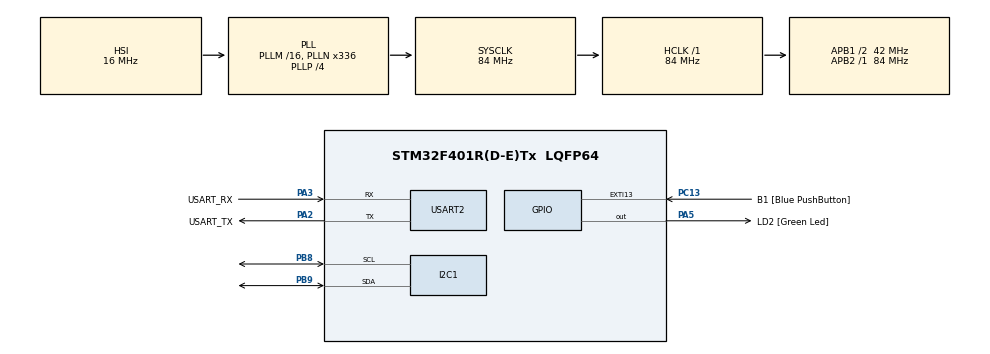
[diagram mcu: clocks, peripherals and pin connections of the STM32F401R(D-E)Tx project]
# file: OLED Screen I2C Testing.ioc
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Mcu.Family=STM32F4
Mcu.Name=STM32F401R(D-E)Tx
Mcu.Package=LQFP64
NVIC.EXTI15_10_IRQn=true\:0\:0\:false\:false\:true\:true\:true\:true
NVIC.PriorityGroup=NVIC_PRIORITYGROUP_4
PA13.GPIO_Label=TMS
PA13.Mode=Trace_Asynchronous_SW
PA13.Signal=SYS_JTMS-SWDIO
PA14.GPIO_Label=TCK
PA14.Mode=Trace_Asynchronous_SW
PA14.Signal=SYS_JTCK-SWCLK
PA2.GPIO_Label=USART_TX
PA2.GPIO_Mode=GPIO_MODE_AF_PP
PA2.GPIO_PuPd=GPIO_NOPULL
PA2.GPIO_Speed=GPIO_SPEED_FREQ_LOW
PA2.Mode=Asynchronous
PA2.Signal=USART2_TX
PA3.GPIO_Label=USART_RX
PA3.GPIO_Mode=GPIO_MODE_AF_PP
PA3.GPIO_PuPd=GPIO_NOPULL
PA3.GPIO_Speed=GPIO_SPEED_FREQ_LOW
PA3.Mode=Asynchronous
PA3.Signal=USART2_RX
PA5.GPIO_Label=LD2 [Green Led]
PA5.GPIO_Mode=GPIO_MODE_OUTPUT_PP
PA5.GPIO_PuPd=GPIO_NOPULL
PA5.GPIO_Speed=GPIO_SPEED_FREQ_LOW
PA5.Signal=GPIO_Output
PB3.GPIO_Label=SWO
PB3.Mode=Trace_Asynchronous_SW
PB3.Signal=SYS_JTDO-SWO
PB8.GPIO_Pu=GPIO_PULLUP
PB8.Mode=I2C
PB8.Signal=I2C1_SCL
PB9.GPIO_Pu=GPIO_PULLUP
PB9.Mode=I2C
PB9.Signal=I2C1_SDA
PC13-ANTI_TAMP.GPIO_Label=B1 [Blue PushButton]
PC13-ANTI_TAMP.GPIO_ModeDefaultEXTI=GPIO_MODE_IT_RISING
PC13-ANTI_TAMP.GPIO_PuPd=GPIO_PULLDOWN
PC13-ANTI_TAMP.Signal=GPXTI13
PC14-OSC32_IN.Mode=LSE-External-Oscillator
PC14-OSC32_IN.Signal=RCC_OSC32_IN
PC15-OSC32_OUT.Mode=LSE-External-Oscillator
PC15-OSC32_OUT.Signal=RCC_OSC32_OUT
PH0\ -\ OSC_IN.Mode=HSE-External-Clock-Source
PH0\ -\ OSC_IN.Signal=RCC_OSC_IN
PH1\ -\ OSC_OUT.Mode=HSE-External-Clock-Source
PH1\ -\ OSC_OUT.Signal=RCC_OSC_OUT
ProjectManager.HeapSize=0x200
ProjectManager.StackSize=0x400
ProjectManager.TargetToolchain=STM32CubeIDE
RCC.48MHZClocksFreq_Value=48000000
RCC.AHBFreq_Value=84000000
RCC.APB1CLKDivider=RCC_HCLK_DIV2
RCC.APB1Freq_Value=42000000
RCC.APB1TimFreq_Value=84000000
RCC.APB2Freq_Value=84000000
RCC.APB2TimFreq_Value=84000000
RCC.CortexFreq_Value=84000000
RCC.HCLKFreq_Value=84000000
RCC.HSE_VALUE=8000000
RCC.HSI_VALUE=16000000
RCC.PLLN=336
RCC.PLLP=RCC_PLLP_DIV4
RCC.PLLQ=7
RCC.SYSCLKFreq_VALUE=84000000
RCC.SYSCLKSource=RCC_SYSCLKSOURCE_PLLCLK
RCC.VCOOutputFreq_Value=336000000
USART2.VirtualMode=VM_ASYNC
board=NUCLEO-F401RE

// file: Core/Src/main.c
/* USER CODE BEGIN Header */
/**
  ******************************************************************************
  * @file           : main.c
  * @brief          : Main program body
  ******************************************************************************
  * @attention
  *
  * Copyright (c) 2025 STMicroelectronics.
  * All rights reserved.
  *
  * This software is licensed under terms that can be found in the LICENSE file
  * in the root directory of this software component.
  * If no LICENSE file comes with this software, it is provided AS-IS.
  *
  ******************************************************************************
  */
/* USER CODE END Header */
#include "main.h"

I2C_HandleTypeDef hi2c1;

UART_HandleTypeDef huart2;

/* USER CODE BEGIN PV */
uint8_t slaveAddressWriteMode = 0x78;
uint8_t slaveAddressReadMode =  0x79;

uint8_t programState = 0;
uint8_t maxProgramState = 1;
/* USER CODE END PV */

void SystemClock_Config(void);
static void MX_GPIO_Init(void);
static void MX_USART2_UART_Init(void);
static void MX_I2C1_Init(void);
/* USER CODE BEGIN PFP */

// OLED Screen functions.
void writeSSD1306Commands(uint8_t commandsList[], uint8_t commandsListLength, uint8_t slaveAddress, I2C_HandleTypeDef* I2CHandlerReference);
void writeSSD1306Data(uint8_t dataList[], uint8_t dataListLength, uint8_t slaveAddress, I2C_HandleTypeDef* I2CHandlerReference);
void initializeSSD1306(uint8_t slaveAddress, I2C_HandleTypeDef* I2CHandlerReference);
void eraseSSD1306Data(uint8_t slaveAddress, I2C_HandleTypeDef* I2CHandlerReference);
void fillSSD1306Data(uint8_t slaveAddress, I2C_HandleTypeDef* I2CHandlerReference);
void testSSD1306(uint8_t slaveAddress, I2C_HandleTypeDef* I2CHandlerReference);
void drawMessage(char message[], uint8_t messageLength, uint8_t page, uint8_t startingColumn, uint8_t slaveAddress, I2C_HandleTypeDef* I2CHandlerReference);
//void displayBitMap(char* bitMap, uint8_t width, uint8_t height);

/* USER CODE END PFP */

int main(void)
{

  /* MCU Configuration--------------------------------------------------------*/

  /* Reset of all peripherals, Initializes the Flash interface and the Systick. */
  HAL_Init();

  /* Configure the system clock */
  SystemClock_Config();

  /* Initialize all configured peripherals */
  MX_GPIO_Init();
  MX_USART2_UART_Init();
  MX_I2C1_Init();
  /* USER CODE BEGIN 2 */
  initializeSSD1306(slaveAddressWriteMode, &hi2c1);
  /* USER CODE END 2 */

  /* Infinite loop */
  while (1)
  {
    /* USER CODE BEGIN 3 */
	if(programState == 0) {
		char message[] = "HELLO WORLD";
		drawMessage(message, 11, 0, 0, slaveAddressWriteMode, &hi2c1);
		continue;
	}

	if(programState == 1) {
		testSSD1306(slaveAddressWriteMode, &hi2c1);
		HAL_Delay(100);
		fillSSD1306Data(slaveAddressWriteMode, &hi2c1);
		HAL_Delay(100);
		eraseSSD1306Data(slaveAddressWriteMode, &hi2c1);
		HAL_Delay(100);
		continue;
	}
  }
  /* USER CODE END 3 */
}

void SystemClock_Config(void)
{
  RCC_OscInitTypeDef RCC_OscInitStruct = {0};
  RCC_ClkInitTypeDef RCC_ClkInitStruct = {0};

  /** Configure the main internal regulator output voltage
  */
  __HAL_RCC_PWR_CLK_ENABLE();
  __HAL_PWR_VOLTAGESCALING_CONFIG(PWR_REGULATOR_VOLTAGE_SCALE2);

  /** Initializes the RCC Oscillators according to the specified parameters
  * in the RCC_OscInitTypeDef structure.
  */
  RCC_OscInitStruct.OscillatorType = RCC_OSCILLATORTYPE_HSI;
  RCC_OscInitStruct.HSIState = RCC_HSI_ON;
  RCC_OscInitStruct.HSICalibrationValue = RCC_HSICALIBRATION_DEFAULT;
  RCC_OscInitStruct.PLL.PLLState = RCC_PLL_ON;
  RCC_OscInitStruct.PLL.PLLSource = RCC_PLLSOURCE_HSI;
  RCC_OscInitStruct.PLL.PLLM = 16;
  RCC_OscInitStruct.PLL.PLLN = 336;
  RCC_OscInitStruct.PLL.PLLP = RCC_PLLP_DIV4;
  RCC_OscInitStruct.PLL.PLLQ = 7;
  if (HAL_RCC_OscConfig(&RCC_OscInitStruct) != HAL_OK)
  {
    Error_Handler();
  }

  /** Initializes the CPU, AHB and APB buses clocks
  */
  RCC_ClkInitStruct.ClockType = RCC_CLOCKTYPE_HCLK|RCC_CLOCKTYPE_SYSCLK
                              |RCC_CLOCKTYPE_PCLK1|RCC_CLOCKTYPE_PCLK2;
  RCC_ClkInitStruct.SYSCLKSource = RCC_SYSCLKSOURCE_PLLCLK;
  RCC_ClkInitStruct.AHBCLKDivider = RCC_SYSCLK_DIV1;
  RCC_ClkInitStruct.APB1CLKDivider = RCC_HCLK_DIV2;
  RCC_ClkInitStruct.APB2CLKDivider = RCC_HCLK_DIV1;

  if (HAL_RCC_ClockConfig(&RCC_ClkInitStruct, FLASH_LATENCY_2) != HAL_OK)
  {
    Error_Handler();
  }
}

static void MX_I2C1_Init(void)
{

  hi2c1.Instance = I2C1;
  hi2c1.Init.ClockSpeed = 100000;
  hi2c1.Init.DutyCycle = I2C_DUTYCYCLE_2;
  hi2c1.Init.OwnAddress1 = 0;
  hi2c1.Init.AddressingMode = I2C_ADDRESSINGMODE_7BIT;
  hi2c1.Init.DualAddressMode = I2C_DUALADDRESS_DISABLE;
  hi2c1.Init.OwnAddress2 = 0;
  hi2c1.Init.GeneralCallMode = I2C_GENERALCALL_DISABLE;
  hi2c1.Init.NoStretchMode = I2C_NOSTRETCH_DISABLE;
  if (HAL_I2C_Init(&hi2c1) != HAL_OK)
  {
    Error_Handler();
  }

}

static void MX_USART2_UART_Init(void)
{

  huart2.Instance = USART2;
  huart2.Init.BaudRate = 115200;
  huart2.Init.WordLength = UART_WORDLENGTH_8B;
  huart2.Init.StopBits = UART_STOPBITS_1;
  huart2.Init.Parity = UART_PARITY_NONE;
  huart2.Init.Mode = UART_MODE_TX_RX;
  huart2.Init.HwFlowCtl = UART_HWCONTROL_NONE;
  huart2.Init.OverSampling = UART_OVERSAMPLING_16;
  if (HAL_UART_Init(&huart2) != HAL_OK)
  {
    Error_Handler();
  }

}

static void MX_GPIO_Init(void)
{
  GPIO_InitTypeDef GPIO_InitStruct = {0};

  /* GPIO Ports Clock Enable */
  __HAL_RCC_GPIOC_CLK_ENABLE();
  __HAL_RCC_GPIOH_CLK_ENABLE();
  __HAL_RCC_GPIOA_CLK_ENABLE();
  __HAL_RCC_GPIOB_CLK_ENABLE();

  /*Configure GPIO pin Output Level */
  HAL_GPIO_WritePin(LD2_GPIO_Port, LD2_Pin, GPIO_PIN_RESET);

  /*Configure GPIO pin : B1_Pin */
  GPIO_InitStruct.Pin = B1_Pin;
  GPIO_InitStruct.Mode = GPIO_MODE_IT_RISING;
  GPIO_InitStruct.Pull = GPIO_PULLDOWN;
  HAL_GPIO_Init(B1_GPIO_Port, &GPIO_InitStruct);

  /*Configure GPIO pin : LD2_Pin */
  GPIO_InitStruct.Pin = LD2_Pin;
  GPIO_InitStruct.Mode = GPIO_MODE_OUTPUT_PP;
  GPIO_InitStruct.Pull = GPIO_NOPULL;
  GPIO_InitStruct.Speed = GPIO_SPEED_FREQ_LOW;
  HAL_GPIO_Init(LD2_GPIO_Port, &GPIO_InitStruct);

  /* EXTI interrupt init*/
  HAL_NVIC_SetPriority(EXTI15_10_IRQn, 0, 0);
  HAL_NVIC_EnableIRQ(EXTI15_10_IRQn);

}

/* USER CODE BEGIN 4 */
void HAL_GPIO_EXTI_Callback(uint16_t GPIO_Pin) {
	if(GPIO_Pin != B1_Pin) {
		__NOP();
		return;
	}

//	eraseSSD1306Data(slaveAddressWriteMode, &hi2c1);
	if(programState == maxProgramState) {
		programState = 0;
		return;
	}

	programState += 1;
}

// OLED Screen Commands
void writeSSD1306Commands(uint8_t commandsList[], uint8_t commandsListLength, uint8_t slaveAddress, I2C_HandleTypeDef* I2CHandlerReference) {
	uint8_t buffer[commandsListLength + 1];

	buffer[0] = 0x00;
	for(int commandsListIndex = 0; commandsListIndex < commandsListLength; commandsListIndex++){
		buffer[commandsListIndex + 1] = commandsList[commandsListIndex];
	}

	HAL_I2C_Master_Transmit(I2CHandlerReference, slaveAddress, buffer, commandsListLength + 1, HAL_MAX_DELAY);
}

void writeSSD1306Data(uint8_t dataList[], uint8_t dataListLength, uint8_t slaveAddress, I2C_HandleTypeDef* I2CHandlerReference) {
	uint8_t buffer[dataListLength + 1];

	buffer[0] = 0x40;
	for(int dataListIndex = 0; dataListIndex < dataListLength; dataListIndex++) {
		buffer[dataListIndex + 1] = dataList[dataListIndex];
	}

	HAL_I2C_Master_Transmit(I2CHandlerReference, slaveAddress, buffer, dataListLength + 1, HAL_MAX_DELAY);
}

void initializeSSD1306(uint8_t slaveAddress, I2C_HandleTypeDef* I2CHandlerReference) {
	uint8_t initializerCommandsList[] = {
		0xAE,       // Display OFF
		0x20, 0x00, // Set Memory Addressing Mode to Horizontal
		0xA1,       // Segment re-map (column address 127 is mapped to SEG0)
		0xC8,       // COM Output Scan Direction: remapped mode
		0xA8, 0x3F, // Multiplex Ratio: 0x3F = 63
		0xD3, 0x00, // Display Offset: 0
		0xDA, 0x12, // COM Pins Hardware Configuration
		0x81, 0x7F, // Contrast
		0xA4,       // Display follows RAM content
		0xA6,       // Normal (not inverted) display
		0xD5, 0x80, // Display clock divide ratio
		0x8D, 0x14, // Charge Pump
		0xAF        // Display ON
	};

	writeSSD1306Commands(initializerCommandsList, 21, slaveAddress, I2CHandlerReference);
	eraseSSD1306Data(slaveAddress, I2CHandlerReference);
}

void eraseSSD1306Data(uint8_t slaveAddress, I2C_HandleTypeDef* I2CHandlerReference) {
    uint8_t columnRange[] = { 0x21, 0x00, 0x7F };
    writeSSD1306Commands(columnRange, 3, slaveAddress, I2CHandlerReference);

    uint8_t pageRange[] = { 0x22, 0x00, 0x07 };
    writeSSD1306Commands(pageRange, 3, slaveAddress, I2CHandlerReference);

    uint8_t blankData[128];
    for (int i = 0; i < 128; i++) {
        blankData[i] = 0x00;
    }

    for (int page = 0; page < 8; page++) {
        writeSSD1306Data(blankData, 128, slaveAddress, I2CHandlerReference);
    }
}

void fillSSD1306Data(uint8_t slaveAddress, I2C_HandleTypeDef* I2CHandlerReference) {
	uint8_t columnRange[] = { 0x21, 0x00, 0x7F };
	writeSSD1306Commands(columnRange, 3, slaveAddress, I2CHandlerReference);

	uint8_t pageRange[] = { 0x22, 0x00, 0x07 };
	writeSSD1306Commands(pageRange, 3, slaveAddress, I2CHandlerReference);

	uint8_t blankData[128];
	for (int i = 0; i < 128; i++) {
		blankData[i] = 0xFF;
	}

	for (int page = 0; page < 8; page++) {
		writeSSD1306Data(blankData, 128, slaveAddress, I2CHandlerReference);
	}
}

void testSSD1306(uint8_t slaveAddress, I2C_HandleTypeDef* I2CHandlerReference) {
	uint8_t entireScreenOnCommand = 0xA5;
	uint8_t resumeRAMContentsCommand = 0xA4;
	writeSSD1306Commands(&entireScreenOnCommand, 1, slaveAddress, I2CHandlerReference);
	HAL_Delay(300);
	writeSSD1306Commands(&resumeRAMContentsCommand, 1, slaveAddress, I2CHandlerReference);
	HAL_Delay(300);
}

void drawMessage(char message[], uint8_t messageLength, uint8_t page, uint8_t startingColumn, uint8_t slaveAddress, I2C_HandleTypeDef* I2CHandlerReference) {
	uint8_t characterBitMaps[27][8] = {
		{	// A
			0b00000000,
			0b11111100,
			0b11111110,
			0b00110011,
			0b00110011,
			0b11111110,
			0b11111100,
			0b00000000
		},
		{	// B
			0b00000000,
			0b11111111,
			0b11111111,
			0b10011001,
			0b10011001,
			0b01100110,
			0b01100110,
			0b00000000
		},
		{	// C
			0b00000000,
			0b00111100,
			0b01111110,
			0b11000011,
			0b11000011,
			0b11000011,
			0b01100110,
			0b00000000
		},
		{	// D
			0b00000000,
			0b11111111,
			0b11111111,
			0b11000011,
			0b11000011,
			0b01111110,
			0b00111100,
			0b00000000
		},
		{	// E
			0b00000000,
			0b11111111,
			0b11111111,
			0b10011001,
			0b10011001,
			0b10011001,
			0b00000000,
			0b00000000
		},
		{	// F
			0b00000000,
			0b00000000,
			0b11111111,
			0b11111111,
			0b00110011,
			0b00110011,
			0b00000000,
			0b00000000
		},
		{	// G
			0b00000000,
			0b01111100,
			0b11111110,
			0b11000011,
			0b11010011,
			0b11110011,
			0b01110010,
			0b00000000
		},
		{	// H
			0b00000000,
			0b11111111,
			0b11111111,
			0b00011000,
			0b00011000,
			0b11111111,
			0b11111111,
			0b00000000
		},
		{	// I
			0b00000000,
			0b11000011,
			0b11000011,
			0b11111111,
			0b11111111,
			0b11000011,
			0b11000011,
			0b00000000
		},
		{	// J
			0b00000000,
			0b01100011,
			0b11000011,
			0b11111111,
			0b01111111,
			0b00000011,
			0b00000011,
			0b00000000
		},
		{	// K
			0b00000000,
			0b11111111,
			0b11111111,
			0b00011000,
			0b00111100,
			0b01100110,
			0b11000011,
			0b00000000
		},
		{	// L
			0b00000000,
			0b11111111,
			0b11111111,
			0b11000000,
			0b11000000,
			0b11000000,
			0b00000000,
			0b00000000
		},
		{	// M
			0b00000000,
			0b11111110,
			0b11111110,
			0b00001100,
			0b00011000,
			0b00001100,
			0b11111110,
			0b11111110
		},
		{	// N
			0b00000000,
			0b11111110,
			0b11111110,
			0b00001100,
			0b00011000,
			0b00110000,
			0b11111110,
			0b11111110
		},
		{	// O
			0b00000000,
			0b01111100,
			0b11000110,
			0b10000010,
			0b10000010,
			0b11000110,
			0b01111100,
			0b00000000
		},
		{	// P
			0b00000000,
			0b11111111,
			0b11111111,
			0b00001001,
			0b00001001,
			0b00001111,
			0b00000110,
			0b00000000
		},
		{	// Q
			0b00000000,
			0b01111100,
			0b10000010,
			0b10000010,
			0b10010010,
			0b10100010,
			0b01111100,
			0b10000000
		},
		{	// R
			0b00000000,
			0b11111111,
			0b11111111,
			0b00011001,
			0b00111001,
			0b11100110,
			0b00000000,
			0b00000000
		},
		{	// S
			0b00000000,
			0b10011111,
			0b10011111,
			0b10011001,
			0b10011001,
			0b11111001,
			0b11111001,
			0b00000000
		},
		{	// T
			0b00000000,
			0b00000011,
			0b00000011,
			0b11111111,
			0b11111111,
			0b00000011,
			0b00000011,
			0b00000000
		},
		{	// U
			0b00000000,
			0b00111111,
			0b11111111,
			0b11000000,
			0b11000000,
			0b11111111,
			0b00111111,
			0b00000000
		},
		{	// V
			0b00000000,
			0b00011110,
			0b01111000,
			0b11000000,
			0b11000000,
			0b01111000,
			0b00011110,
			0b00000000
		},
		{	// W
			0b00000000,
			0b01111110,
			0b11100000,
			0b01111000,
			0b01111000,
			0b11100000,
			0b01111110,
			0b00000000
		},
		{	// X
			0b00000000,
			0b11000110,
			0b01101100,
			0b00111000,
			0b00111000,
			0b01101100,
			0b11000110,
			0b00000000
		},
		{	// Y
			0b00000000,
			0b00000111,
			0b00001110,
			0b11111000,
			0b11111000,
			0b00001110,
			0b00000111,
			0b00000000
		},
		{	// Z
			0b00000000,
			0b11000011,
			0b11100011,
			0b11110011,
			0b11011011,
			0b11001111,
			0b11000111,
			0b00000000
		},
		{	// SPACE
			0b00000000,
			0b00000000,
			0b00000000,
			0b00000000,
			0b00000000,
			0b00000000,
			0b00000000,
			0b00000000
		}
	};

	uint8_t columnRange[] = { 0x21, startingColumn, startingColumn + (messageLength * 8) - 1 };
	writeSSD1306Commands(columnRange, 3, slaveAddress, I2CHandlerReference);

	uint8_t pageRange[] = { 0x22, page, page };
	writeSSD1306Commands(pageRange, 3, slaveAddress, I2CHandlerReference);

	uint8_t buffer[messageLength * 8];
	for(int character = 0; character < messageLength; character++) {
		if(message[character] == '\0') break;
		if(message[character] == ' ') {
			for(int bitMapRow = 0; bitMapRow < 8; bitMapRow++) {
//				buffer[(character * 8) + bitMapRow] = characterBitMaps[26][bitMapRow];
				buffer[(character * 8) + bitMapRow] = characterBitMaps[26][bitMapRow];
			}
			continue;
		}

		for(int bitMapRow = 0; bitMapRow < 8; bitMapRow++) {
			buffer[(character * 8) + bitMapRow] = characterBitMaps[message[character] - 65][bitMapRow];
		}
	}

	writeSSD1306Data(buffer, messageLength * 8, slaveAddress, I2CHandlerReference);
}
/* USER CODE END 4 */

void Error_Handler(void)
{
  __disable_irq();
  while (1)
  {
  }
}
